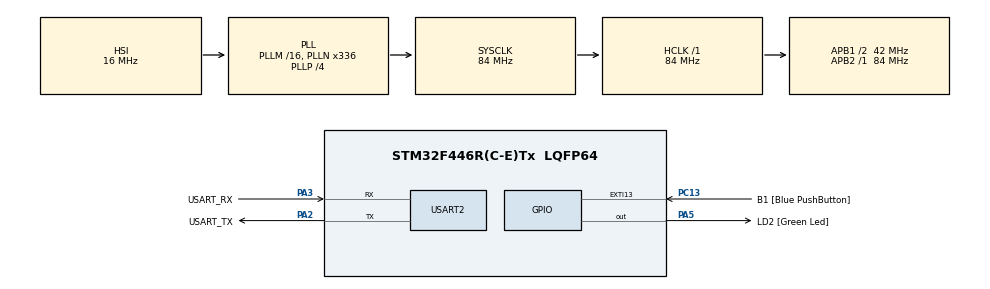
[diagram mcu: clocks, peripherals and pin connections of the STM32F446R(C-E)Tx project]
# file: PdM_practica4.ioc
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Mcu.Family=STM32F4
Mcu.Name=STM32F446R(C-E)Tx
Mcu.Package=LQFP64
NVIC.EXTI15_10_IRQn=true\:0\:1\:true\:false\:true\:true\:true\:true
NVIC.PriorityGroup=NVIC_PRIORITYGROUP_0
PA13.GPIO_Label=TMS
PA13.Mode=Serial_Wire
PA13.Signal=SYS_JTMS-SWDIO
PA14.GPIO_Label=TCK
PA14.Mode=Serial_Wire
PA14.Signal=SYS_JTCK-SWCLK
PA2.GPIO_Label=USART_TX
PA2.Mode=Asynchronous
PA2.Signal=USART2_TX
PA3.GPIO_Label=USART_RX
PA3.Mode=Asynchronous
PA3.Signal=USART2_RX
PA5.GPIO_Label=LD2 [Green Led]
PA5.Signal=GPIO_Output
PB3.GPIO_Label=SWO
PB3.Signal=SYS_JTDO-SWO
PC13.GPIO_Label=B1 [Blue PushButton]
PC13.GPIO_ModeDefaultEXTI=GPIO_MODE_IT_FALLING
PC13.Signal=GPXTI13
PC14-OSC32_IN.Mode=LSE-External-Oscillator
PC14-OSC32_IN.Signal=RCC_OSC32_IN
PC15-OSC32_OUT.Mode=LSE-External-Oscillator
PC15-OSC32_OUT.Signal=RCC_OSC32_OUT
PH0-OSC_IN.Mode=HSE-External-Oscillator
PH0-OSC_IN.Signal=RCC_OSC_IN
PH1-OSC_OUT.Mode=HSE-External-Oscillator
PH1-OSC_OUT.Signal=RCC_OSC_OUT
ProjectManager.HeapSize=0x200
ProjectManager.StackSize=0x400
ProjectManager.TargetToolchain=STM32CubeIDE
RCC.48MHZClocksFreq_Value=84000000
RCC.AHBFreq_Value=84000000
RCC.APB1CLKDivider=RCC_HCLK_DIV2
RCC.APB1Freq_Value=42000000
RCC.APB1TimFreq_Value=84000000
RCC.APB2Freq_Value=84000000
RCC.APB2TimFreq_Value=84000000
RCC.CortexFreq_Value=84000000
RCC.FLatency-AdvancedSettings=FLASH_LATENCY_2
RCC.HCLKFreq_Value=84000000
RCC.HSE_VALUE=8000000
RCC.HSI_VALUE=16000000
RCC.PLLN=336
RCC.PLLP=RCC_PLLP_DIV4
RCC.SYSCLKFreq_VALUE=84000000
RCC.SYSCLKSource=RCC_SYSCLKSOURCE_PLLCLK
RCC.USBFreq_Value=168000000
RCC.VCOOutputFreq_Value=336000000
USART2.VirtualMode=VM_ASYNC
board=NUCLEO-F446RE

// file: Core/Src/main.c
/* USER CODE BEGIN Header */
/**
  ******************************************************************************
  * @file           : main.c
  * @brief          : Main program body
  ******************************************************************************
  * @attention
  *
  * Copyright (c) 2025 STMicroelectronics.
  * All rights reserved.
  *
  * This software is licensed under terms that can be found in the LICENSE file
  * in the root directory of this software component.
  * If no LICENSE file comes with this software, it is provided AS-IS.
  *
  ******************************************************************************
  */
/* USER CODE END Header */
#include "main.h"

/* USER CODE BEGIN Includes */
#include "API_delay.h"
#include "API_debounce.h"
/* USER CODE END Includes */

UART_HandleTypeDef huart2;

/* USER CODE BEGIN PV */
uint8_t indiceDelay = 0;
const uint8_t NUM_DELAY = 2; //cantidad de valores en el array de tiempos
const uint32_t TIEMPOS[] = {500, 100};

void switchDelayValue(void){
	// indiceDelay debe ser siempre un valor entre 0 y (NUM_DELAY - 1)
	indiceDelay = (indiceDelay + 1) % NUM_DELAY;
}

/* USER CODE END PV */

void SystemClock_Config(void);
static void MX_GPIO_Init(void);
static void MX_USART2_UART_Init(void);

int main(void)
{

  /* MCU Configuration--------------------------------------------------------*/

  /* Reset of all peripherals, Initializes the Flash interface and the Systick. */
  HAL_Init();

  /* Configure the system clock */
  SystemClock_Config();

  /* Initialize all configured peripherals */
  MX_GPIO_Init();
  MX_USART2_UART_Init();
  /* USER CODE BEGIN 2 */
  delay_t myDelay;

    debounceFSM_init();
    delayInit(&myDelay, TIEMPOS[indiceDelay]);

  /* USER CODE END 2 */

  /* Infinite loop */
  /* USER CODE BEGIN WHILE */
  while (1)
  {
	  debounceFSM_update();
	  if(delayRead(&myDelay)){ // si se cumplio el delay, toggle y reiniciar el delay
		  HAL_GPIO_TogglePin(LD2_GPIO_Port, LD2_Pin);

		  if(!delayIsRunning(&myDelay) && readKey()){// checkeo que el delay no este corriendo y que se haya presionado la tecla para cambiar el valor de delay
			  switchDelayValue();
			  delayWrite(&myDelay, TIEMPOS[indiceDelay]);
		  }

	  }

    /* USER CODE END WHILE */

  }
}

void SystemClock_Config(void)
{
  RCC_OscInitTypeDef RCC_OscInitStruct = {0};
  RCC_ClkInitTypeDef RCC_ClkInitStruct = {0};

  /** Configure the main internal regulator output voltage
  */
  __HAL_RCC_PWR_CLK_ENABLE();
  __HAL_PWR_VOLTAGESCALING_CONFIG(PWR_REGULATOR_VOLTAGE_SCALE3);

  /** Initializes the RCC Oscillators according to the specified parameters
  * in the RCC_OscInitTypeDef structure.
  */
  RCC_OscInitStruct.OscillatorType = RCC_OSCILLATORTYPE_HSI;
  RCC_OscInitStruct.HSIState = RCC_HSI_ON;
  RCC_OscInitStruct.HSICalibrationValue = RCC_HSICALIBRATION_DEFAULT;
  RCC_OscInitStruct.PLL.PLLState = RCC_PLL_ON;
  RCC_OscInitStruct.PLL.PLLSource = RCC_PLLSOURCE_HSI;
  RCC_OscInitStruct.PLL.PLLM = 16;
  RCC_OscInitStruct.PLL.PLLN = 336;
  RCC_OscInitStruct.PLL.PLLP = RCC_PLLP_DIV4;
  RCC_OscInitStruct.PLL.PLLQ = 2;
  RCC_OscInitStruct.PLL.PLLR = 2;
  if (HAL_RCC_OscConfig(&RCC_OscInitStruct) != HAL_OK)
  {
    Error_Handler();
  }

  /** Initializes the CPU, AHB and APB buses clocks
  */
  RCC_ClkInitStruct.ClockType = RCC_CLOCKTYPE_HCLK|RCC_CLOCKTYPE_SYSCLK
                              |RCC_CLOCKTYPE_PCLK1|RCC_CLOCKTYPE_PCLK2;
  RCC_ClkInitStruct.SYSCLKSource = RCC_SYSCLKSOURCE_PLLCLK;
  RCC_ClkInitStruct.AHBCLKDivider = RCC_SYSCLK_DIV1;
  RCC_ClkInitStruct.APB1CLKDivider = RCC_HCLK_DIV2;
  RCC_ClkInitStruct.APB2CLKDivider = RCC_HCLK_DIV1;

  if (HAL_RCC_ClockConfig(&RCC_ClkInitStruct, FLASH_LATENCY_2) != HAL_OK)
  {
    Error_Handler();
  }
}

static void MX_USART2_UART_Init(void)
{

  huart2.Instance = USART2;
  huart2.Init.BaudRate = 115200;
  huart2.Init.WordLength = UART_WORDLENGTH_8B;
  huart2.Init.StopBits = UART_STOPBITS_1;
  huart2.Init.Parity = UART_PARITY_NONE;
  huart2.Init.Mode = UART_MODE_TX_RX;
  huart2.Init.HwFlowCtl = UART_HWCONTROL_NONE;
  huart2.Init.OverSampling = UART_OVERSAMPLING_16;
  if (HAL_UART_Init(&huart2) != HAL_OK)
  {
    Error_Handler();
  }

}

static void MX_GPIO_Init(void)
{
  GPIO_InitTypeDef GPIO_InitStruct = {0};

  /* GPIO Ports Clock Enable */
  __HAL_RCC_GPIOC_CLK_ENABLE();
  __HAL_RCC_GPIOH_CLK_ENABLE();
  __HAL_RCC_GPIOA_CLK_ENABLE();
  __HAL_RCC_GPIOB_CLK_ENABLE();

  /*Configure GPIO pin Output Level */
  HAL_GPIO_WritePin(LD2_GPIO_Port, LD2_Pin, GPIO_PIN_RESET);

  /*Configure GPIO pin : B1_Pin */
  GPIO_InitStruct.Pin = B1_Pin;
  GPIO_InitStruct.Mode = GPIO_MODE_IT_FALLING;
  GPIO_InitStruct.Pull = GPIO_NOPULL;
  HAL_GPIO_Init(B1_GPIO_Port, &GPIO_InitStruct);

  /*Configure GPIO pin : LD2_Pin */
  GPIO_InitStruct.Pin = LD2_Pin;
  GPIO_InitStruct.Mode = GPIO_MODE_OUTPUT_PP;
  GPIO_InitStruct.Pull = GPIO_NOPULL;
  GPIO_InitStruct.Speed = GPIO_SPEED_FREQ_LOW;
  HAL_GPIO_Init(LD2_GPIO_Port, &GPIO_InitStruct);

  /* EXTI interrupt init*/
  HAL_NVIC_SetPriority(EXTI15_10_IRQn, 0, 1);
  HAL_NVIC_EnableIRQ(EXTI15_10_IRQn);

}

void Error_Handler(void)
{
  __disable_irq();
  while (1)
  {
  }
}
